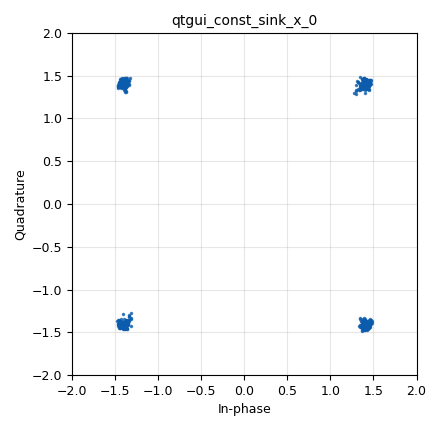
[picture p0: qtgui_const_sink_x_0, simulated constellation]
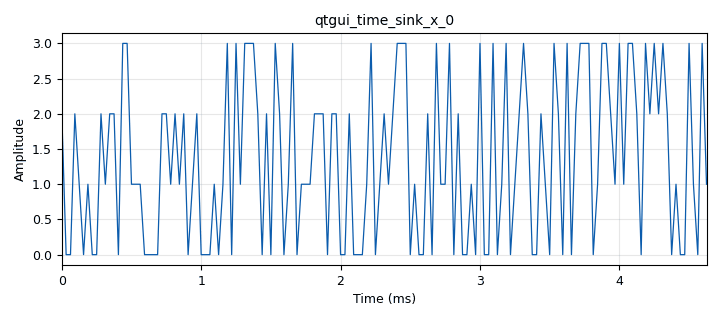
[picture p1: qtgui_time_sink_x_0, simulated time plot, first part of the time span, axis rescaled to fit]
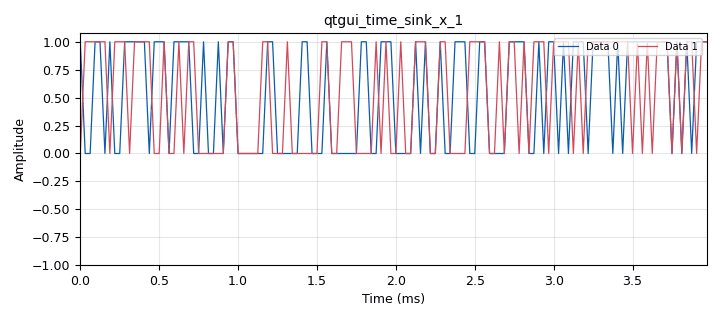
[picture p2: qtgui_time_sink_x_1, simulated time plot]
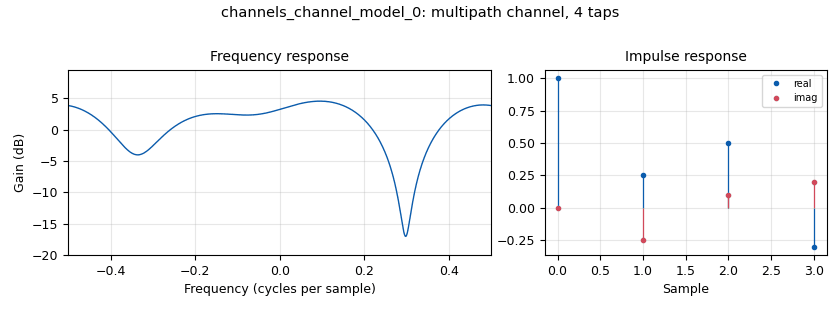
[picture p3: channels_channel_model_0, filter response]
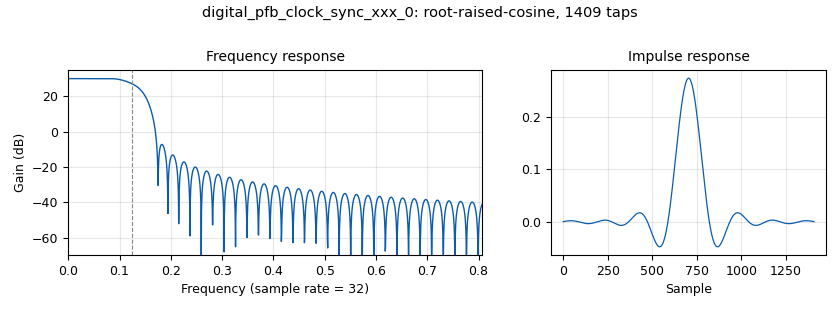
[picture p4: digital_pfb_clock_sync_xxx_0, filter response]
options:
  parameters:
    generate_options: qt_gui
    id: top_block
    output_language: python
    title: qpsk
  states: {}

blocks:
- name: arity
  id: variable
  parameters:
    value: '4'
  states: {}
- name: delay
  id: variable_qtgui_range
  parameters:
    gui_hint: 1,0,1,1
    label: Delay
    start: '0'
    step: '1'
    stop: '200'
    value: '50'
  states: {}
- name: eg_gain
  id: variable_qtgui_range
  parameters:
    gui_hint: 'controls@1: 0,1,1,1'
    label: Equalizer:rate
    start: '0'
    step: '.001'
    stop: '.1'
    value: '.010'
    widget: slider
  states: {}
- name: excess_bw
  id: variable
  parameters:
    value: '.35'
  states: {}
- name: freq_offset
  id: variable_qtgui_range
  parameters:
    gui_hint: 'controls@0: 0,1,1,1'
    label: Frequency Offset
    start: '-.1'
    step: '.001'
    stop: '.1'
    value: '0'
  states: {}
- name: nfilts
  id: variable
  parameters:
    value: '32'
  states: {}
- name: noise_volt
  id: variable_qtgui_range
  parameters:
    gui_hint: 'controls@0: 0,0,1,1'
    label: Noise Voltage
    start: '0'
    step: '.010'
    stop: '1'
    value: '.000100'
  states: {}
- name: phase_bw
  id: variable_qtgui_range
  parameters:
    gui_hint: 'controls@1: 0,2,1,1'
    label: Phase:Bandwidth
    start: '0'
    step: '.010'
    stop: '1'
    value: '.0628'
    widget: slider
  states: {}
- name: qpsk
  id: variable_constellation_rect
  parameters:
    const_points: '[0.707+0.707j, -0.707+0.707j, -0.707-0.707j, 0.707-0.707j]'
    imag_sect: '2'
    real_sect: '2'
    rot_sym: '4'
    sym_map: '[0, 1, 2,3]'
    w_imag_sect: '1'
    w_real_sect: '1'
  states: {}
- name: rrc_taps
  id: variable
  parameters:
    value: firdes.root_raised_cosine(nfilts, nfilts, 1.0/float(sps), 0.35, 11*sps*nfilts)
  states: {}
- name: samp_rate
  id: variable
  parameters:
    value: '32000'
  states: {}
- name: sps
  id: variable
  parameters:
    value: '4'
  states: {}
- name: taps
  id: variable
  parameters:
    value: '[1.0, 0.25-0.25j, 0.50 + 0.10j, -0.3 + 0.2j]'
  states: {}
- name: time_offset
  id: variable_qtgui_range
  parameters:
    gui_hint: 'controls@0: 0,2,1,1'
    label: Timing Offset
    start: '.999'
    step: '.000100'
    stop: '1.001'
    value: '1'
  states: {}
- name: timing_loop_bw
  id: variable_qtgui_range
  parameters:
    gui_hint: 'controls@1: 0,0,1,1'
    label: Time:BW
    start: '0'
    step: '.010'
    stop: '.2'
    value: '.0628'
    widget: slider
  states: {}
- name: variable_adaptive_algorithm_0
  id: variable_adaptive_algorithm
  parameters:
    cons: qpsk
    modulus: '4'
    step_size: '.000100'
    type: cma
  states: {}
- name: analog_random_source_x_0
  id: analog_random_source_x
  parameters:
    max: '255'
    min: '0'
    num_samps: '10000'
    repeat: 'True'
    type: byte
  states: {}
- name: blocks_char_to_float_0
  id: blocks_char_to_float
  parameters:
    scale: '1'
  states: {}
- name: blocks_char_to_float_1
  id: blocks_char_to_float
  parameters:
    scale: '1'
  states: {}
- name: blocks_char_to_float_2
  id: blocks_char_to_float
  parameters:
    scale: '1'
  states: {}
- name: blocks_delay_0
  id: blocks_delay
  parameters:
    delay: '50'
    type: float
  states: {}
- name: blocks_throttle2_0
  id: blocks_throttle2
  parameters:
    samples_per_second: samp_rate
    type: complex
  states: {}
- name: blocks_unpack_k_bits_bb_0
  id: blocks_unpack_k_bits_bb
  parameters:
    k: '8'
  states: {}
- name: blocks_unpack_k_bits_bb_1
  id: blocks_unpack_k_bits_bb
  parameters:
    k: '2'
  states: {}
- name: channels_channel_model_0
  id: channels_channel_model
  parameters:
    epsilon: '1.0'
    freq_offset: '0.0'
    noise_voltage: '.000100'
    seed: '0'
    taps: '[1.0, 0.25-0.25j, 0.50 + 0.10j, -0.3 + 0.2j]'
  states: {}
- name: controls
  id: qtgui_tab_widget
  parameters:
    gui_hint: 0,0,1,2
    label0: Channel
    label1: Receiver
    num_tabs: '2'
  states: {}
- name: digital_constellation_decoder_cb_0
  id: digital_constellation_decoder_cb
  parameters:
    constellation: qpsk
  states: {}
- name: digital_constellation_modulator_0
  id: digital_constellation_modulator
  parameters:
    constellation: qpsk
    differential: 'True'
    excess_bw: '0.35'
    samples_per_symbol: '4'
  states: {}
- name: digital_costas_loop_cc_0
  id: digital_costas_loop_cc
  parameters:
    order: '4'
    w: '.0628'
  states: {}
- name: digital_diff_decoder_bb_0
  id: digital_diff_decoder_bb
  parameters:
    coding: digital.DIFF_DIFFERENTIAL
    modulus: '4'
  states: {}
- name: digital_linear_equalizer_0
  id: digital_linear_equalizer
  parameters:
    alg: variable_adaptive_algorithm_0
    num_taps: '15'
    sps: '2'
  states: {}
- name: digital_map_bb_0
  id: digital_map_bb
  parameters:
    map: '[0,1,2,3]'
  states: {}
- name: digital_pfb_clock_sync_xxx_0
  id: digital_pfb_clock_sync_xxx
  parameters:
    filter_size: '32'
    init_phase: '16'
    loop_bw: '.0628'
    max_dev: '1.5'
    osps: '2'
    sps: '4'
    taps: rrc_taps
    type: ccf
  states: {}
- name: note_0
  id: note
  parameters:
    note: CMA equalizer replaced by linear equalizer and adaptive algorithm
  states: {}
- name: qtgui_const_sink_x_0
  id: qtgui_const_sink_x
  parameters:
    gui_hint: 'received@0: 0,0,1,1'
    size: '1024'
    type: complex
  states: {}
- name: qtgui_time_sink_x_0
  id: qtgui_time_sink_x
  parameters:
    gui_hint: 'received@1: 0,0,1,1'
    label1: ''
    size: '500'
    srate: samp_rate
    type: float
  states: {}
- name: qtgui_time_sink_x_1
  id: qtgui_time_sink_x
  parameters:
    gui_hint: 2,1,1,1
    label1: ''
    label2: ''
    nconnections: '2'
    size: '128'
    srate: samp_rate
    type: float
  states: {}
- name: received
  id: qtgui_tab_widget
  parameters:
    gui_hint: 2,0,1,1
    label0: Constellation
    label1: Symbols
    num_tabs: '2'
  states: {}

connections:
- [analog_random_source_x_0, '0', blocks_unpack_k_bits_bb_0, '0']
- [analog_random_source_x_0, '0', digital_constellation_modulator_0, '0']
- [blocks_char_to_float_0, '0', qtgui_time_sink_x_0, '0']
- [blocks_char_to_float_1, '0', qtgui_time_sink_x_1, '0']
- [blocks_char_to_float_2, '0', blocks_delay_0, '0']
- [blocks_delay_0, '0', qtgui_time_sink_x_1, '1']
- [blocks_throttle2_0, '0', channels_channel_model_0, '0']
- [blocks_unpack_k_bits_bb_0, '0', blocks_char_to_float_2, '0']
- [blocks_unpack_k_bits_bb_1, '0', blocks_char_to_float_1, '0']
- [channels_channel_model_0, '0', digital_pfb_clock_sync_xxx_0, '0']
- [digital_constellation_decoder_cb_0, '0', blocks_char_to_float_0, '0']
- [digital_constellation_decoder_cb_0, '0', digital_diff_decoder_bb_0, '0']
- [digital_constellation_modulator_0, '0', blocks_throttle2_0, '0']
- [digital_costas_loop_cc_0, '0', digital_constellation_decoder_cb_0, '0']
- [digital_costas_loop_cc_0, '0', qtgui_const_sink_x_0, '0']
- [digital_diff_decoder_bb_0, '0', digital_map_bb_0, '0']
- [digital_linear_equalizer_0, '0', digital_costas_loop_cc_0, '0']
- [digital_map_bb_0, '0', blocks_unpack_k_bits_bb_1, '0']
- [digital_pfb_clock_sync_xxx_0, '0', digital_linear_equalizer_0, '0']

metadata:
  file_format: 1
  grc_version: 3.10.7.0
